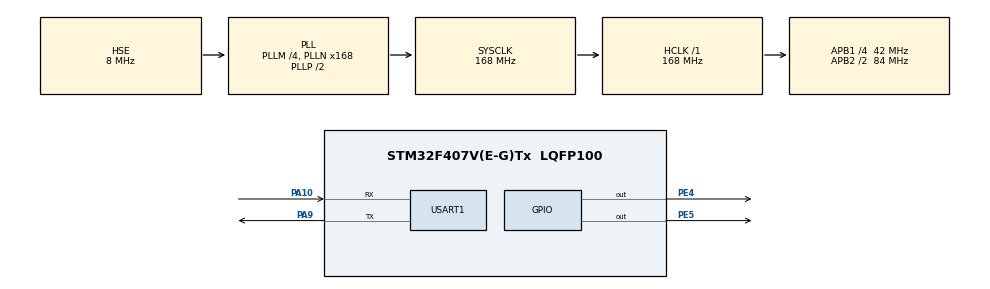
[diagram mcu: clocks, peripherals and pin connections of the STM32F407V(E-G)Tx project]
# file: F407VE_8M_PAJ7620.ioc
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Mcu.Family=STM32F4
Mcu.Name=STM32F407V(E-G)Tx
Mcu.Package=LQFP100
NVIC.PriorityGroup=NVIC_PRIORITYGROUP_4
NVIC.USART1_IRQn=true\:0\:0\:false\:false\:true\:true\:true
PA10.Mode=Asynchronous
PA10.Signal=USART1_RX
PA13.Mode=Serial_Wire
PA13.Signal=SYS_JTMS-SWDIO
PA14.Mode=Serial_Wire
PA14.Signal=SYS_JTCK-SWCLK
PA9.Mode=Asynchronous
PA9.Signal=USART1_TX
PC14-OSC32_IN.Mode=LSE-External-Oscillator
PC14-OSC32_IN.Signal=RCC_OSC32_IN
PC15-OSC32_OUT.Mode=LSE-External-Oscillator
PC15-OSC32_OUT.Signal=RCC_OSC32_OUT
PE4.GPIO_ModeDefaultOutputPP=GPIO_MODE_OUTPUT_PP
PE4.GPIO_PuPd=GPIO_PULLUP
PE4.GPIO_Speed=GPIO_SPEED_FREQ_VERY_HIGH
PE4.PinState=GPIO_PIN_SET
PE4.Signal=GPIO_Output
PE5.GPIO_ModeDefaultOutputPP=GPIO_MODE_OUTPUT_PP
PE5.GPIO_PuPd=GPIO_PULLUP
PE5.GPIO_Speed=GPIO_SPEED_FREQ_VERY_HIGH
PE5.PinState=GPIO_PIN_SET
PE5.Signal=GPIO_Output
PH0-OSC_IN.Mode=HSE-External-Oscillator
PH0-OSC_IN.Signal=RCC_OSC_IN
PH1-OSC_OUT.Mode=HSE-External-Oscillator
PH1-OSC_OUT.Signal=RCC_OSC_OUT
ProjectManager.HeapSize=0x200
ProjectManager.StackSize=0x400
ProjectManager.TargetToolchain=MDK-ARM V5.32
RCC.48MHZClocksFreq_Value=84000000
RCC.AHBFreq_Value=168000000
RCC.APB1CLKDivider=RCC_HCLK_DIV4
RCC.APB1Freq_Value=42000000
RCC.APB1TimFreq_Value=84000000
RCC.APB2CLKDivider=RCC_HCLK_DIV2
RCC.APB2Freq_Value=84000000
RCC.APB2TimFreq_Value=168000000
RCC.CortexFreq_Value=168000000
RCC.HCLKFreq_Value=168000000
RCC.HSE_VALUE=8000000
RCC.HSI_VALUE=16000000
RCC.PLLM=4
RCC.PLLN=168
RCC.PLLSourceVirtual=RCC_PLLSOURCE_HSE
RCC.SYSCLKFreq_VALUE=168000000
RCC.SYSCLKSource=RCC_SYSCLKSOURCE_PLLCLK
RCC.VCOOutputFreq_Value=336000000
USART1.VirtualMode=VM_ASYNC
board=custom

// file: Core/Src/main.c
/* USER CODE BEGIN Header */
/**
  ******************************************************************************
  * @file           : main.c
  * @brief          : Main program body
  ******************************************************************************
  * @attention
  *
  * <h2><center>&copy; Copyright (c) 2021 STMicroelectronics.
  * All rights reserved.</center></h2>
  *
  * This software component is licensed by ST under BSD 3-Clause license,
  * the "License"; You may not use this file except in compliance with the
  * License. You may obtain a copy of the License at:
  *                        opensource.org/licenses/BSD-3-Clause
  *
  ******************************************************************************
  */
/* USER CODE END Header */
#include "main.h"
#include "usart.h"
#include "gpio.h"

/* USER CODE BEGIN Includes */
#include "PAJ7620/paj7620.h"
/* USER CODE END Includes */

/* USER CODE BEGIN PV */
MyUARTHandle uart1;
uint8_t uartBuf1[100];
/* USER CODE END PV */

void SystemClock_Config(void);

int main(void)
{
  /* USER CODE BEGIN 1 */
  uint8_t gesture;
  uint16_t tmp;
  /* USER CODE END 1 */

  /* MCU Configuration--------------------------------------------------------*/

  /* Reset of all peripherals, Initializes the Flash interface and the Systick. */
  HAL_Init();

  /* Configure the system clock */
  SystemClock_Config();

  /* Initialize all configured peripherals */
  MX_GPIO_Init();
  MX_USART1_UART_Init();
  /* USER CODE BEGIN 2 */
  Delay_Init(168);
  MyUART_Init(&uart1, USART1, uartBuf1, 100);
  printf("PAJ7620 Test\r\n");
  printf("Init: %d\r\n", PAJ7620_Init(GPIOE, 4, GPIOE, 5));
  printf("Read16(0x32 0x33->0x29 0x01): %d\r\n", PAJ7620_Read16(0x32, &tmp));
  printf("Result: 0x%x\r\n", tmp);

  /* USER CODE END 2 */

  /* Infinite loop */
  while (1)
  {

    /* USER CODE BEGIN 3 */
    Delay_ms(500);
    gesture = PAJ7620_Gesture9(600, 500);

    if(gesture != 0)
    {
      printf("Val: 0x%x\r\n", gesture);
      //printf("Gesture: %s", gestureText[gesture]);
      printf("\r\n");
    }
  }
  /* USER CODE END 3 */
}

void SystemClock_Config(void)
{
  RCC_OscInitTypeDef RCC_OscInitStruct = {0};
  RCC_ClkInitTypeDef RCC_ClkInitStruct = {0};

  /** Configure the main internal regulator output voltage
  */
  __HAL_RCC_PWR_CLK_ENABLE();
  __HAL_PWR_VOLTAGESCALING_CONFIG(PWR_REGULATOR_VOLTAGE_SCALE1);
  /** Initializes the RCC Oscillators according to the specified parameters
  * in the RCC_OscInitTypeDef structure.
  */
  RCC_OscInitStruct.OscillatorType = RCC_OSCILLATORTYPE_HSE;
  RCC_OscInitStruct.HSEState = RCC_HSE_ON;
  RCC_OscInitStruct.PLL.PLLState = RCC_PLL_ON;
  RCC_OscInitStruct.PLL.PLLSource = RCC_PLLSOURCE_HSE;
  RCC_OscInitStruct.PLL.PLLM = 4;
  RCC_OscInitStruct.PLL.PLLN = 168;
  RCC_OscInitStruct.PLL.PLLP = RCC_PLLP_DIV2;
  RCC_OscInitStruct.PLL.PLLQ = 4;
  if (HAL_RCC_OscConfig(&RCC_OscInitStruct) != HAL_OK)
  {
    Error_Handler();
  }
  /** Initializes the CPU, AHB and APB buses clocks
  */
  RCC_ClkInitStruct.ClockType = RCC_CLOCKTYPE_HCLK|RCC_CLOCKTYPE_SYSCLK
                              |RCC_CLOCKTYPE_PCLK1|RCC_CLOCKTYPE_PCLK2;
  RCC_ClkInitStruct.SYSCLKSource = RCC_SYSCLKSOURCE_PLLCLK;
  RCC_ClkInitStruct.AHBCLKDivider = RCC_SYSCLK_DIV1;
  RCC_ClkInitStruct.APB1CLKDivider = RCC_HCLK_DIV4;
  RCC_ClkInitStruct.APB2CLKDivider = RCC_HCLK_DIV2;

  if (HAL_RCC_ClockConfig(&RCC_ClkInitStruct, FLASH_LATENCY_5) != HAL_OK)
  {
    Error_Handler();
  }
}

void Error_Handler(void)
{
  __disable_irq();
  while (1)
  {
  }
}

/************************ (C) COPYRIGHT STMicroelectronics *****END OF FILE****/
